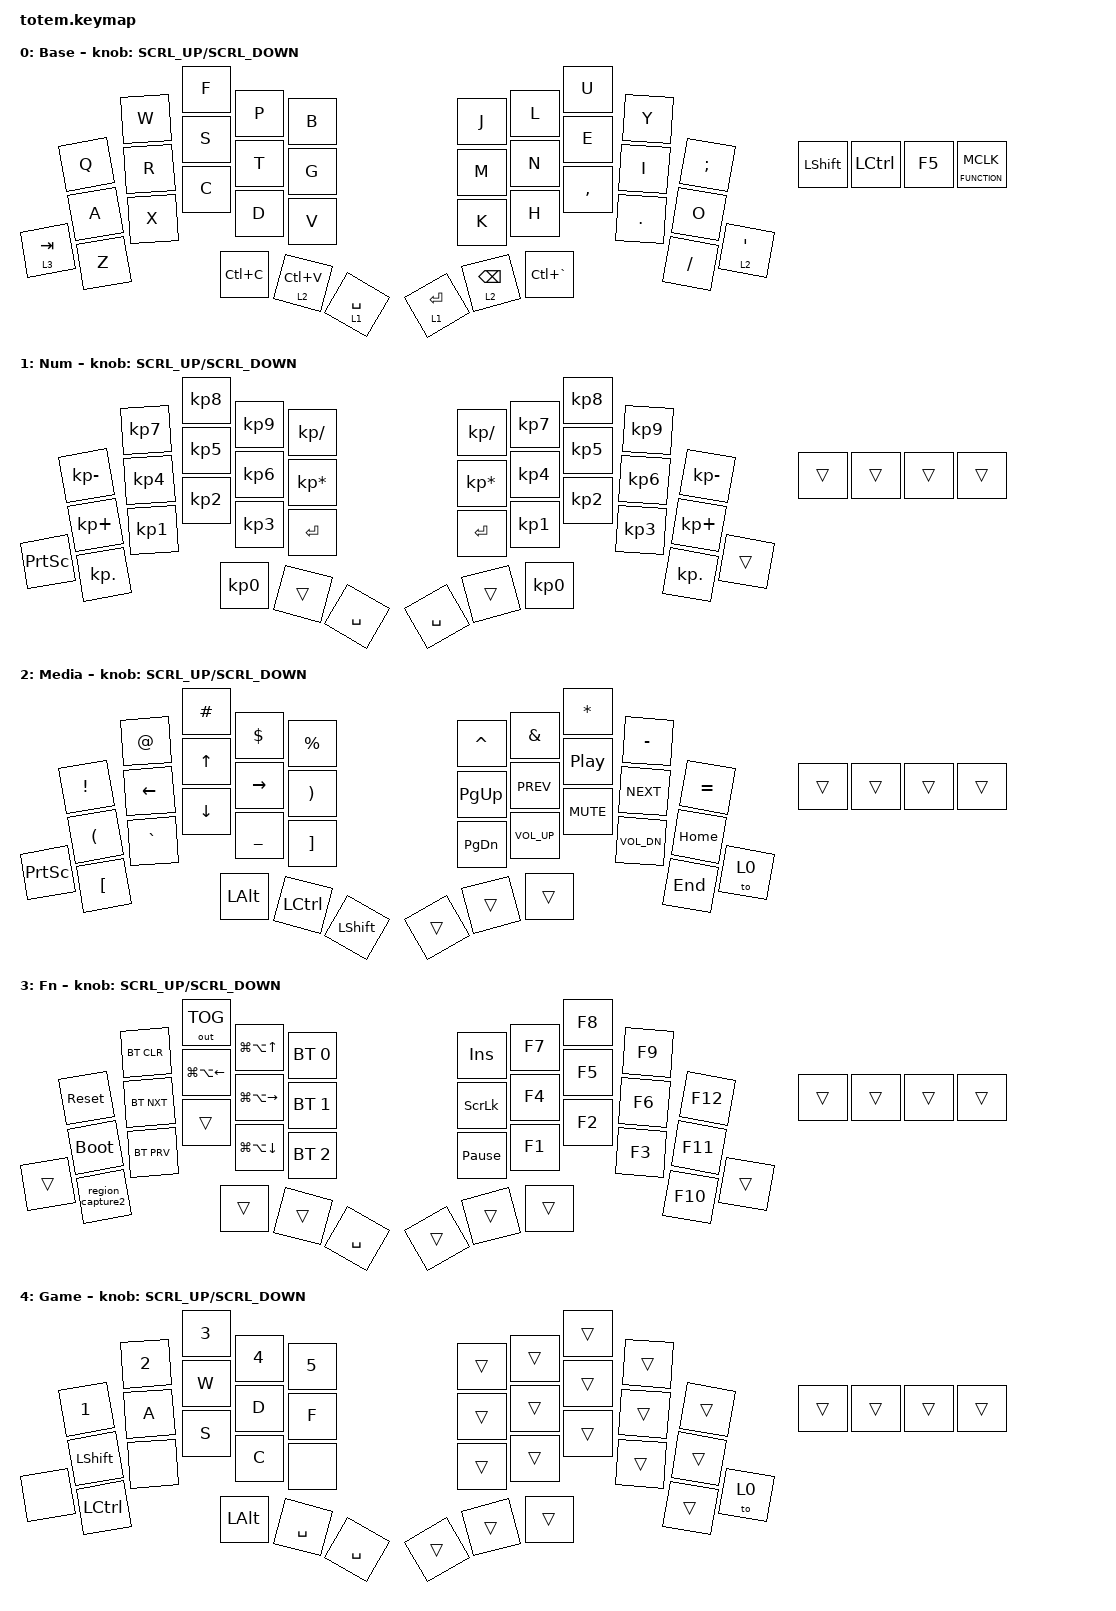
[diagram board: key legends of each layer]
//
//                                                        ▀▀▀▀▀     ▀▀▀▀▀          ▀▀█▀▀
//                                                        ▄▀▀▀▄  ▄  ▄▀▀▀▄  ▄  ▄▀▀▀▄  █  ▄▀▀▀▄
//                                                        █   █  █  █   █  █  █   █  █  █   █
//                                                         ▀▀▀   █   ▀▀▀   █   ▀▀▀   ▀   ▀▀▀
//                                                               █      ▄▄▄█▄▄▄    █   █  
//                                                               ▀      █  █  █     █▄█
//                                                             ▀▀▀▀▀    █  █  █      ▀
//                                                                      ▀  ▀  ▀
//
// ▄▄▄▄▄▄▄▄▄▄▄▄▄▄▄▄▄▄▄▄▄▄▄▄▄▄▄▄▄▄▄▄▄▄▄▄▄▄▄▄▄▄▄▄▄▄▄▄▄▄▄▄▄▄▄▄▄▄▄▄▄▄▄▄▄▄▄▄▄▄▄▄▄▄▄▄▄▄▄▄▄▄▄▄▄▄▄▄▄▄▄▄▄▄▄▄▄▄▄▄▄▄▄▄▄▄▄▄▄▄▄▄▄▄▄▄▄▄▄▄▄▄▄▄▄▄▄▄▄▄▄▄▄▄▄▄▄▄▄▄▄▄▄▄▄▄▄▄▄

/* Must precede pointing.h: SCRL_UP/SCRL_DOWN bake this value in at include time. */
#define ZMK_POINTING_DEFAULT_SCRL_VAL 80
#include <dt-bindings/zmk/pointing.h>

#include <behaviors.dtsi>
#include <dt-bindings/zmk/keys.h>
#include <dt-bindings/zmk/bt.h>
#include <dt-bindings/zmk/outputs.h>
#include <dt-bindings/zmk/ext_power.h>

#define BASE      0
#define NUM       1
#define MEDIA     2
#define FUNCTION  3
#define GAME      4

&mt {
    quick-tap-ms = <100>;
    global-quick-tap;
    flavor = "tap-preferred";
    tapping-term-ms = <170>;
};

/ {
    behaviors {
        /* macropad key 41: hold for the function layer, tap for middle click. */
        lm: layer_middle {
            compatible = "zmk,behavior-hold-tap";
            label = "LAYER_MIDDLE";
            #binding-cells = <2>;
            flavor = "hold-preferred";
            tapping-term-ms = <200>;
            quick-tap-ms = <200>;
            require-prior-idle-ms = <125>;
            bindings = <&mo>, <&mkp>;
        };

        /* tap-ms must stay >= &msc's 16ms trigger-period-ms or the release
         * cancels the tick work before it ever reports a wheel movement. */
        wheel_rotate: sensor_scroll {
            compatible = "zmk,behavior-sensor-rotate-var";
            #sensor-binding-cells = <2>;
            bindings = <&msc>, <&msc>;
            tap-ms = <25>;
        };

        hm: homerow_mods {
            compatible = "zmk,behavior-hold-tap";
            label = "HOMEROW_MODS";
            #binding-cells = <2>;
            tapping-term-ms = <200>;			// <---[[produces tap if held longer than tapping-term-ms]]
            quick_tap_ms = <0>;
            flavor = "tap-preferred";
            bindings = <&kp>, <&kp>;
        };

        lc: layer_change {
            compatible = "zmk,behavior-hold-tap";
            #binding-cells = <2>;
            flavor = "hold-preferred";
            tapping-term-ms = <200>;
            quick-tap-ms = <200>;
            require-prior-idle-ms = <125>;
            bindings = <&to>, <&kp>;
        };

        sc: sticky_layer_change {
            compatible = "zmk,behavior-hold-tap";
            #binding-cells = <2>;
            flavor = "hold-preferred";
            tapping-term-ms = <200>;
            quick-tap-ms = <200>;
            require-prior-idle-ms = <125>;
            bindings = <&sl>, <&kp>;
        };

        dl: dualayer_change {
            compatible = "zmk,behavior-hold-tap";
            #binding-cells = <2>;
            flavor = "hold-preferred";
            tapping-term-ms = <200>;
            quick-tap-ms = <200>;
            require-prior-idle-ms = <125>;
            bindings = <&to>, <&sl>;
        };

        ts: temp_sticky {
            compatible = "zmk,behavior-hold-tap";
            #binding-cells = <2>;
            flavor = "hold-preferred";
            tapping-term-ms = <200>;
            quick-tap-ms = <200>;
            require-prior-idle-ms = <125>;
            bindings = <&mo>, <&to>;
        };
    };

    combos {
        compatible = "zmk,combos";

        combo_esc {
            timeout-ms = <50>;
            key-positions = <0 1>;
            layers = <0 1 2 3>;
            bindings = <&kp ESC>;
        };

        combo_boot {
            timeout-ms = <50>;
            key-positions = <20 31>;
            layers = <1 2 3>;
            bindings = <&bootloader>;
        };

        combo_undo {
            timeout-ms = <50>;
            key-positions = <34 35>;
            layers = <0 1 2 3>;
            bindings = <&kp LC(Z)>;
        };

        combo_shift1 {
            timeout-ms = <50>;
            key-positions = <12 13>;
            layers = <0>;
            bindings = <&kp LSHFT>;
        };

        combo_shift2 {
            timeout-ms = <50>;
            key-positions = <16 17>;
            layers = <0>;
            bindings = <&kp RSHFT>;
        };

        combo_ctrl1 {
            timeout-ms = <50>;
            key-positions = <11 13>;
            layers = <0>;
            bindings = <&kp LCTRL>;
        };

        combo_ctrl2 {
            timeout-ms = <50>;
            key-positions = <16 18>;
            layers = <0>;
            bindings = <&kp RCTRL>;
        };

        combo_alt1 {
            timeout-ms = <50>;
            key-positions = <13 10>;
            layers = <0>;
            bindings = <&kp LALT>;
        };

        combo_alt2 {
            timeout-ms = <50>;
            key-positions = <16 19>;
            layers = <0>;
            bindings = <&kp RALT>;
        };

        combo_super {
            timeout-ms = <50>;
            key-positions = <32 37>;
            layers = <0 2 3 1>;
            bindings = <&kp LGUI>;
        };

        combo_backspace1 {
            key-positions = <5 6>;
            timeout-ms = <50>;
            layers = <0 1 2 3>;
            bindings = <&kp BACKSPACE>;
        };

        to_game_layer {
            bindings = <&to 4>;
            key-positions = <4 5>;
            layers = <0 1 2 3>;
            timeout-ms = <50>;
        };

        region_screen {
            bindings = <&capture_region>;
            key-positions = <20 25>;
            layers = <0 1 2 3>;
            timeout-ms = <50>;
        };

        combo_backspace2 {
            bindings = <&kp BACKSPACE>;
            key-positions = <3 4>;
            timeout-ms = <50>;
            layers = <0 1 2 3>;
        };

        combo_del1 {
            bindings = <&kp DEL>;
            key-positions = <24 25>;
            timeout-ms = <50>;
            layers = <0 1 2 3>;
        };

        combo_del2 {
            bindings = <&kp DEL>;
            key-positions = <26 27>;
            timeout-ms = <50>;
            layers = <0 1 2 3>;
        };

        combo_studio_unlock {
            timeout-ms = <50>;
            key-positions = <13 16>;
            layers = <0>;
            bindings = <&studio_unlock>;
        };

        /* 			combo_copy {
                timeout-ms = <50>;
                key-positions = <5 31 24>;
                bindings = <&bootloader>;
            };
			combo_paste {
                timeout-ms = <50>;
                key-positions = <5 31 12>;
                bindings = <&bootloader>;
            }; */
    };

    macros {
        capture_region: capture_region {
            compatible = "zmk,behavior-macro";
            #binding-cells = <0>;
            bindings =
                <&macro_press>,
                <&kp LCTRL>,
                <&macro_tap>,
                <&kp PRINTSCREEN>,
                <&macro_release>,
                <&kp LCTRL>;

            label = "CAPTURE_REGION";
        };

        region_capture2: region_capture2 {
            compatible = "zmk,behavior-macro";
            #binding-cells = <0>;
            bindings =
                <&macro_press>,
                <&kp RCTRL>,
                <&macro_tap>,
                <&kp K_APP>,
                <&macro_release>,
                <&kp RCTRL>;

            label = "REGION_CAPTURE2";
        };
    };

    keymap {
        compatible = "zmk,keymap";

        // ▄▄▄▄▄▄▄▄▄▄▄▄▄▄▄▄▄▄▄▄▄▄▄▄▄▄▄▄▄▄▄▄▄▄▄▄▄▄▄▄▄▄▄▄▄▄▄▄▄▄▄▄▄▄▄▄▄▄▄▄▄▄▄▄▄▄▄▄▄▄▄▄▄▄▄▄▄▄▄▄▄▄▄▄▄▄▄▄▄▄▄▄▄▄▄▄▄▄▄▄▄▄▄▄▄▄▄▄▄▄▄▄▄▄▄▄▄▄▄▄▄▄▄▄▄▄▄▄▄▄▄▄▄▄▄▄▄▄▄▄▄▄▄▄▄▄▄▄▄

        base_layer {
            // ┏━━━━━━━━━━━━━━━━━━━━━━━━━━━━━━━━━━━━━━━┓

            display-name = "Base";
			label = "BASE";

            // ┗━━━━━━━━━━━━━━━━━━━━━━━━━━━━━━━━━━━━━━━┛
            //             ┌─────────┬─────────┬─────────┬─────────┬─────────┐                     ┌─────────┬─────────┬─────────┬─────────┬─────────┐
            //             │    Q    │    W    │    F    │    P    │    B    │                     │    J    │    L    │    U    │    Y    │    ;    │   
            //             ├─────────┼─────────┼─────────┼─────────┼─────────┤                     ├─────────┼─────────┼─────────┼─────────┼─────────┤
            //             │    A    │    R    │    S    │    T    │    G    │                     │    M    │    N    │    E    │    I    │    O    │
            //   ┌─────────┼─────────┼─────────┼─────────┼─────────┼─────────┤                     ├─────────┼─────────┼─────────┼─────────┼─────────┼─────────┐
            //   │   TAB   │    Z    │    X    │    C    │    D    │    V    │                     │    K    │    H    │    ,    │    .    │    /    │    '    │
            //   └─────────┴─────────┴─────────┴─────────┼─────────┼─────────┼──────────┬┬─────────┼─────────┼─────────┼─────────┴─────────┴─────────┴─────────┘
            //                                           │   COPY  │  PASTE  │  SPACE   ││  ENTER  │  BSPCE  │  DITTO  │  
            //                                           └─────────┴─────────┴──────────┘└─────────┴─────────┴─────────┘

            bindings = <
           &kp Q  &kp W  &kp F      &kp P        &kp B          &kp J      &kp L      &kp U          &kp Y    &kp SEMI
           &kp A  &kp R  &kp S      &kp T        &kp G          &kp M      &kp N      &kp E          &kp I    &kp O
&lt 3 TAB  &kp Z  &kp X  &kp C      &kp D        &kp V          &kp K      &kp H      &kp COMMA      &kp DOT  &kp FSLH  &lc 2 SQT
                         &kp LC(C)  &lt 2 LC(V)  &lt 1 SPACE    &lt 1 RET  &lt 2 BSPC &kp LC(GRAVE)
        // macropad, positions 38-41
        &kp LSHFT  &kp LCTRL  &kp F5  &lm FUNCTION MCLK
            >;
            sensor-bindings = <&wheel_rotate SCRL_UP SCRL_DOWN>;
/*			bindings = <
              &kp Q       &kp W       &kp E          &kp R         &kp T        &kp Y    &kp U        &kp I        &kp O       &kp P
              &kp A 	  &kp S 	  &kp D  	     &kp F 		   &kp G        &kp H    &kp J  	  &kp K 	   &kp L  	   &kp SEMICOLON
&lt 3 TAB	  &kp Z       &kp X       &kp C          &kp V         &kp B        &kp N    &kp M        &kp COMMA    &kp DOT     &kp SLASH           &lc 2 SQT
                                      &kp LC(C)  	 &lt 2 LC(V)   &lt 1 SPACE  &lt 2 RET  &kp BSPC   &kp MINUS
            >; */
        };

        // ▄▄▄▄▄▄▄▄▄▄▄▄▄▄▄▄▄▄▄▄▄▄▄▄▄▄▄▄▄▄▄▄▄▄▄▄▄▄▄▄▄▄▄▄▄▄▄▄▄▄▄▄▄▄▄▄▄▄▄▄▄▄▄▄▄▄▄▄▄▄▄▄▄▄▄▄▄▄▄▄▄▄▄▄▄▄▄▄▄▄▄▄▄▄▄▄▄▄▄▄▄▄▄▄▄▄▄▄▄▄▄▄▄▄▄▄▄▄▄▄▄▄▄▄▄▄▄▄▄▄▄▄▄▄▄▄▄▄▄▄▄▄▄▄▄▄▄▄▄

        num_layer {
            // ┏━━━━━━━━━━━━━━━━━━━━━━━━━━━━━━━━━━━━━━━┓

            display-name = "Num";
			label = "NUM";

            // ┗━━━━━━━━━━━━━━━━━━━━━━━━━━━━━━━━━━━━━━━┛
            //             ┌─────────┬─────────┬─────────┬─────────┬─────────┐                     ┌─────────┬─────────┬─────────┬─────────┬─────────┐
            //             │    -    │    7    │    8    │    9    │    /    │                     │    /    │    7    │    8    │    9    │    -    │
            //             ├─────────┼─────────┼─────────┼─────────┼─────────┤                     ├─────────┼─────────┼─────────┼─────────┼─────────┤
            //             │    +    │    4    │    5    │    6    │    *    │                     │    *    │    4    │    5    │    6    │    +    │
            //   ┌─────────┼─────────┼─────────┼─────────┼─────────┼─────────┤                     ├─────────┼─────────┼─────────┼─────────┼─────────┼─────────┐
            //   │  PRINT  │    .    │    1    │    2    │    3    │ ------- │                     │ ------- │    1    │    2    │    3    │    .    │         │
            //   └─────────┴─────────┴─────────┴─────────┼─────────┼─────────┼──────────┬┬─────────┼─────────┼─────────┼─────────┴─────────┴─────────┴─────────┘
            //                                           │    0    │  ENTER  │  SPACE   ││  SPACE  │  ENTER  │    0    │ 
            //                                           └─────────┴─────────┴──────────┘└─────────┴─────────┴─────────┘

            bindings = <
           &kp KP_MINUS  &kp KP_N7  &kp KP_N8  &kp KP_N9  &kp KP_DIVIDE      &kp KP_DIVIDE    &kp KP_N7  &kp KP_N8  &kp KP_N9  &kp KP_MINUS
           &kp KP_PLUS   &kp KP_N4  &kp KP_N5  &kp KP_N6  &kp KP_MULTIPLY    &kp KP_MULTIPLY  &kp KP_N4  &kp KP_N5  &kp KP_N6  &kp KP_PLUS
&kp PSCRN  &kp KP_DOT    &kp KP_N1  &kp KP_N2  &kp KP_N3  &kp RET            &kp RET          &kp KP_N1  &kp KP_N2  &kp KP_N3  &kp KP_DOT    &trans
                                    &kp KP_N0  &trans     &kp SPACE          &kp SPACE        &trans     &kp KP_N0
        // macropad, positions 38-41
        &trans     &trans     &trans  &trans
            >;
            sensor-bindings = <&wheel_rotate SCRL_UP SCRL_DOWN>;
        };

        // ▄▄▄▄▄▄▄▄▄▄▄▄▄▄▄▄▄▄▄▄▄▄▄▄▄▄▄▄▄▄▄▄▄▄▄▄▄▄▄▄▄▄▄▄▄▄▄▄▄▄▄▄▄▄▄▄▄▄▄▄▄▄▄▄▄▄▄▄▄▄▄▄▄▄▄▄▄▄▄▄▄▄▄▄▄▄▄▄▄▄▄▄▄▄▄▄▄▄▄▄▄▄▄▄▄▄▄▄▄▄▄▄▄▄▄▄▄▄▄▄▄▄▄▄▄▄▄▄▄▄▄▄▄▄▄▄▄▄▄▄▄▄▄▄▄▄▄▄▄

        media_layer {
            // ┏━━━━━━━━━━━━━━━━━━━━━━━━━━━━━━━━━━━━━━━┓

            display-name = "Media";
			label = "MEDIA";

            // ┗━━━━━━━━━━━━━━━━━━━━━━━━━━━━━━━━━━━━━━━┛
            //             ┌─────────┬─────────┬─────────┬─────────┬─────────┐                    ┌─────────┬─────────┬─────────┬─────────┬─────────┐
            //             │    !    │    @    │    #    │    $    │    %    │                    │    ^    │    &    │    *    │    -    │    +    │   
            //             ├─────────┼─────────┼─────────┼─────────┼─────────┤                    ├─────────┼─────────┼─────────┼─────────┼─────────┤
            //             │    (    │    ←    │    ↑    │    →    │    )    │                    │  PGUP   │    <    │  PLAY   │    >    │   HOME  │
            //   ┌─────────┼─────────┼─────────┼─────────┼─────────┼─────────┤                    ├─────────┼─────────┼─────────┼─────────┼─────────┼─────────┐
            //   │         │    [    │    `    │    ↓    │    _    │    ]    │                    │  PGDWN  │   VOL+  │  MUTE   │   VOL-  │   END   │  TO_0   │
            //   └─────────┴─────────┴─────────┴─────────┼─────────┼─────────┼─────────┬┬─────────┼─────────┼─────────┼─────────┴─────────┴─────────┴─────────┘
            //                                           │   ALT   │  CTRL   │  SHIFT  ││         │         │         │  
            //                                           └─────────┴─────────┴─────────┘└─────────┴─────────┴─────────┘

            bindings = <
                 &kp EXCL  &kp AT     &kp HASH  &kp DLLR   &kp PRCNT    &kp CARET  &kp AMPS      &kp ASTRK   &kp MINUS     &kp EQUAL
                 &kp LPAR  &kp LEFT   &kp UP    &kp RIGHT  &kp RPAR     &kp PG_UP  &kp C_PREV    &kp C_PP    &kp C_NEXT    &kp HOME
&kp PRINTSCREEN  &kp LBKT  &kp GRAVE  &kp DOWN  &kp UNDER  &kp RBKT     &kp PG_DN  &kp C_VOL_UP  &kp C_MUTE  &kp C_VOL_DN  &kp END    &to 0
                                      &kp LALT  &kp LCTRL  &kp LSHFT    &trans     &trans        &trans
        // macropad, positions 38-41
        &trans     &trans     &trans  &trans
            >;
            sensor-bindings = <&wheel_rotate SCRL_UP SCRL_DOWN>;
        };

        // ▄▄▄▄▄▄▄▄▄▄▄▄▄▄▄▄▄▄▄▄▄▄▄▄▄▄▄▄▄▄▄▄▄▄▄▄▄▄▄▄▄▄▄▄▄▄▄▄▄▄▄▄▄▄▄▄▄▄▄▄▄▄▄▄▄▄▄▄▄▄▄▄▄▄▄▄▄▄▄▄▄▄▄▄▄▄▄▄▄▄▄▄▄▄▄▄▄▄▄▄▄▄▄▄▄▄▄▄▄▄▄▄▄▄▄▄▄▄▄▄▄▄▄▄▄▄▄▄▄▄▄▄▄▄▄▄▄▄▄▄▄▄▄▄▄▄▄▄▄

        function_layer {
            // ┏━━━━━━━━━━━━━━━━━━━━━━━━━━━━━━━━━━━━━━━┓

            display-name = "Fn";
			label = "FUNCTION";

            // ┗━━━━━━━━━━━━━━━━━━━━━━━━━━━━━━━━━━━━━━━┛
            //             ┌─────────┬─────────┬─────────┬─────────┬─────────┐                     ┌─────────┬─────────┬─────────┬─────────┬─────────┐
            //             │  RESET  │  BT CLR │ OUT TOG │  WIN ^  │ BTSEL 0 │                     │   INS   │    F7   │    F8   │    F9   │   F12   │
            //             ├─────────┼─────────┼─────────┼─────────┼─────────┤                     ├─────────┼─────────┼─────────┼─────────┼─────────┤
            //             │  BOOTLD │ BT NEXT │  WIN <  │  WIN >  │ BTSEL 1 │                     │  SLCK   │    F4   │    F5   │    F6   │   F11   │
            //   ┌─────────┼─────────┼─────────┼─────────┼─────────┼─────────┤                     ├─────────┼─────────┼─────────┼─────────┼─────────┼─────────┐
            //   │         │ CAPTURE │ BT PREV │ STUDIO  │  WIN v  │ BTSEL 2 │                     │  PAUSE  │    F1   │    F2   │    F3   │   F10   │         │
            //   └─────────┴─────────┴─────────┴─────────┼─────────┼─────────┼──────────┬┬─────────┼─────────┼─────────┼─────────┴─────────┴─────────┴─────────┘
            //                                           │         │         │  SPACE   ││         │         │         │ 
            //                                           └─────────┴─────────┴──────────┘└─────────┴─────────┴─────────┘

            bindings = <
        &sys_reset        &bt BT_CLR  &out OUT_TOG            &kp LG(LA(UP_ARROW))     &bt BT_SEL 0    &kp INSERT       &kp F7  &kp F8  &kp F9  &kp F12
        &bootloader       &bt BT_NXT  &kp LG(LA(LEFT_ARROW))  &kp LG(LA(RIGHT_ARROW))  &bt BT_SEL 1    &kp SLCK         &kp F4  &kp F5  &kp F6  &kp F11
&trans  &region_capture2  &bt BT_PRV  &trans                  &kp LG(LA(DOWN_ARROW))   &bt BT_SEL 2    &kp PAUSE_BREAK  &kp F1  &kp F2  &kp F3  &kp F10  &trans
                                      &trans                  &trans                   &kp SPACE       &trans           &trans  &trans
        // macropad, positions 38-41
        &trans     &trans     &trans  &trans
            >;
            sensor-bindings = <&wheel_rotate SCRL_UP SCRL_DOWN>;
        };

        // ▄▄▄▄▄▄▄▄▄▄▄▄▄▄▄▄▄▄▄▄▄▄▄▄▄▄▄▄▄▄▄▄▄▄▄▄▄▄▄▄▄▄▄▄▄▄▄▄▄▄▄▄▄▄▄▄▄▄▄▄▄▄▄▄▄▄▄▄▄▄▄▄▄▄▄▄▄▄▄▄▄▄▄▄▄▄▄▄▄▄▄▄▄▄▄▄▄▄▄▄▄▄▄▄▄▄▄▄▄▄▄▄▄▄▄▄▄▄▄▄▄▄▄▄▄▄▄▄▄▄▄▄▄▄▄▄▄▄▄▄▄▄▄▄▄▄▄▄▄		

        game_layer {
            // ┏━━━━━━━━━━━━━━━━━━━━━━━━━━━━━━━━━━━━━━━┓

            display-name = "Game";
			label = "GAME";

            // ┗━━━━━━━━━━━━━━━━━━━━━━━━━━━━━━━━━━━━━━━┛
            //             ┌─────────┬─────────┬─────────┬─────────┬─────────┐                    ┌─────────┬─────────┬─────────┬─────────┬─────────┐
            //             │    1    │    2    │    3    │    4    │    5    │                    │         │         │         │         │         │   
            //             ├─────────┼─────────┼─────────┼─────────┼─────────┤                    ├─────────┼─────────┼─────────┼─────────┼─────────┤
            //             │  SHIFT  │    A    │    W    │    D    │    F    │                    │         │         │         │         │         │
            //   ┌─────────┼─────────┼─────────┼─────────┼─────────┼─────────┤                    ├─────────┼─────────┼─────────┼─────────┼─────────┼─────────┐
            //   │ ------- │  CRTL   │ ------- │    S    │    C    │ ------- │                    │         │         │         │         │         │         │
            //   └─────────┴─────────┴─────────┴─────────┼─────────┼─────────┼─────────┬┬─────────┼─────────┼─────────┼─────────┴─────────┴─────────┴─────────┘
            //                                           │   ALT   │  SPACE  │  SPACE  ││         │         │         │  
            //                                           └─────────┴─────────┴─────────┘└─────────┴─────────┴─────────┘

            bindings = <
       &kp N1     &kp N2  &kp N3    &kp N4     &kp N5       &trans  &trans  &trans  &trans  &trans
       &kp LSHFT  &kp A   &kp W     &kp D      &kp F        &trans  &trans  &trans  &trans  &trans
&none  &kp LCTRL  &none   &kp S     &kp C      &none        &trans  &trans  &trans  &trans  &trans  &to 0
                          &kp LALT  &kp SPACE  &kp SPACE    &trans  &trans  &trans
        // macropad, positions 38-41
        &trans     &trans     &trans  &trans
            >;
            sensor-bindings = <&wheel_rotate SCRL_UP SCRL_DOWN>;
        };

        // ▄▄▄▄▄▄▄▄▄▄▄▄▄▄▄▄▄▄▄▄▄▄▄▄▄▄▄▄▄▄▄▄▄▄▄▄▄▄▄▄▄▄▄▄▄▄▄▄▄▄▄▄▄▄▄▄▄▄▄▄▄▄▄▄▄▄▄▄▄▄▄▄▄▄▄▄▄▄▄▄▄▄▄▄▄▄▄▄▄▄▄▄▄▄▄▄▄▄▄▄▄▄▄▄▄▄▄▄▄▄▄▄▄▄▄▄▄▄▄▄▄▄▄▄▄▄▄▄▄▄▄▄▄▄▄▄▄▄▄▄▄▄▄▄▄▄▄▄▄		
    };
};
